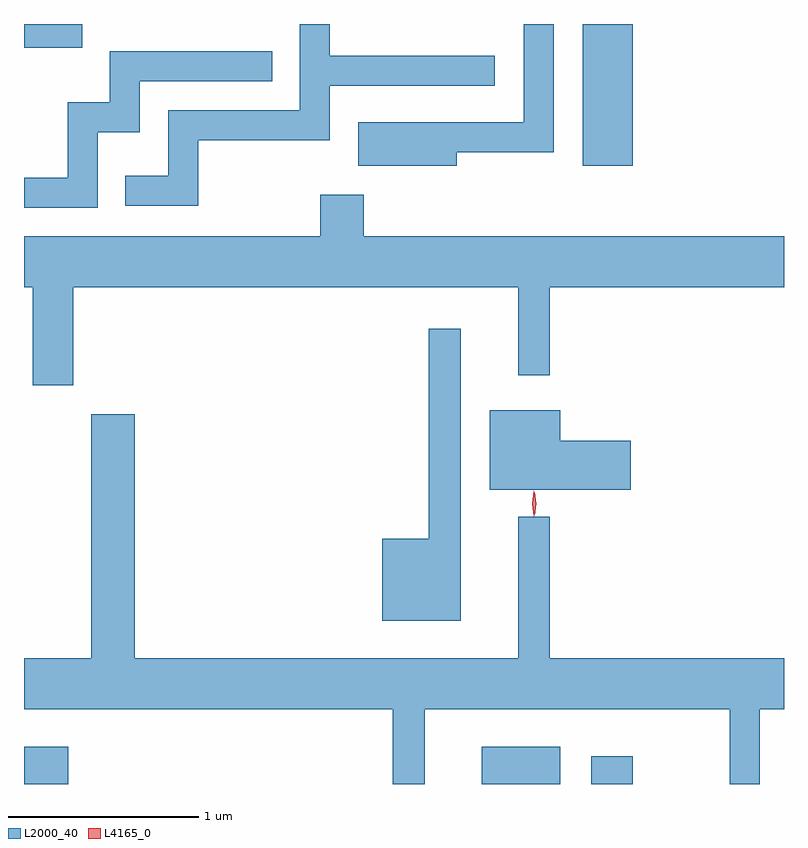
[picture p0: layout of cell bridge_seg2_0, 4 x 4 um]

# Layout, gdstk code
import gdstk
lib = gdstk.Library(unit=1e-6, precision=1e-09)
def R(c, l, rs):  # rectangles x0, y0, x1, y1
    for r in rs: c.add(gdstk.rectangle(r[:2], r[2:], *l))
def P(c, l, *ps):  # polygons
    for p in ps: c.add(gdstk.Polygon(p, *l))
L2000_40 = (2000, 40)
L4165_0 = (4165, 0)

bridge_seg2_0 = lib.new_cell('bridge_seg2_0')
R(bridge_seg2_0, L2000_40, [(1908.381,1021.282,1908.614,1021.479), (1910.791,1021.282,1911.204,1021.479), (1911.366,1021.282,1911.584,1021.429), (1911.321,1024.536,1911.584,1025.282), (1908.381,1025.156,1908.688,1025.282)])
P(bridge_seg2_0, L2000_40, [(1909.299,1024.671),(1909.989,1024.671),(1909.989,1024.956),(1910.858,1024.956),(1910.858,1025.114),(1909.989,1025.114),(1909.989,1025.282),(1909.831,1025.282),(1909.831,1024.829),(1909.141,1024.829),(1909.141,1024.484),(1908.913,1024.484),(1908.913,1024.326),(1909.299,1024.326)],
  [(1910.659,1024.606),(1911.169,1024.606),(1911.169,1025.282),(1911.011,1025.282),(1911.011,1024.764),(1910.141,1024.764),(1910.141,1024.536),(1910.659,1024.536)],
  [(1908.769,1024.711),(1908.989,1024.711),(1908.989,1024.981),(1909.688,1024.981),(1909.688,1025.139),(1908.831,1025.139),(1908.831,1024.869),(1908.611,1024.869),(1908.611,1024.474),(1908.381,1024.474),(1908.381,1024.316),(1908.769,1024.316)],
  [(1908.639,1023.896),(1910.981,1023.896),(1910.981,1023.433),(1911.149,1023.433),(1911.149,1023.896),(1912.381,1023.896),(1912.381,1024.164),(1910.169,1024.164),(1910.169,1024.384),(1909.941,1024.384),(1909.941,1024.164),(1908.381,1024.164),(1908.381,1023.896),(1908.426,1023.896),(1908.426,1023.381),(1908.639,1023.381)],
  [(1910.679,1023.678),(1910.511,1023.678),(1910.511,1022.574),(1910.266,1022.574),(1910.266,1022.141),(1910.679,1022.141)],
  [(1911.574,1023.089),(1911.204,1023.089),(1911.204,1023.249),(1910.831,1023.249),(1910.831,1022.831),(1911.574,1022.831)],
  [(1910.489,1021.676),(1912.096,1021.676),(1912.096,1021.282),(1912.254,1021.282),(1912.254,1021.676),(1912.381,1021.676),(1912.381,1021.944),(1911.149,1021.944),(1911.149,1022.688),(1910.981,1022.688),(1910.981,1021.944),(1908.964,1021.944),(1908.964,1023.229),(1908.736,1023.229),(1908.736,1021.944),(1908.381,1021.944),(1908.381,1021.676),(1910.321,1021.676),(1910.321,1021.282),(1910.489,1021.282)])
P(bridge_seg2_0, L4165_0, [(1911.064,1022.69),(1911.055,1022.758),(1911.064,1022.825),(1911.064,1022.826),(1911.065,1022.825),(1911.074,1022.758),(1911.065,1022.69),(1911.065,1022.69)],
  [(1911.068,1022.693),(1911.068,1022.693),(1911.058,1022.756),(1911.068,1022.82),(1911.068,1022.82),(1911.069,1022.82),(1911.078,1022.756),(1911.069,1022.693)])

lib.write_gds('bridge_seg2_0.gds')
